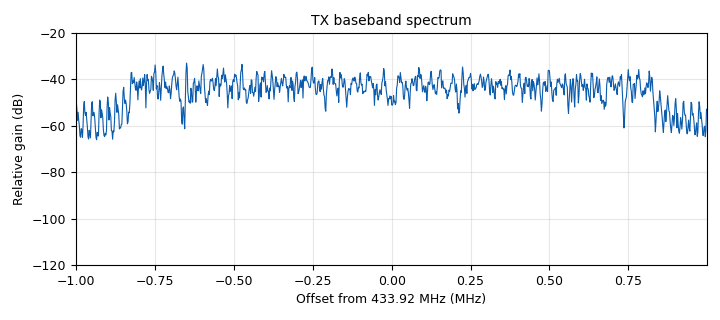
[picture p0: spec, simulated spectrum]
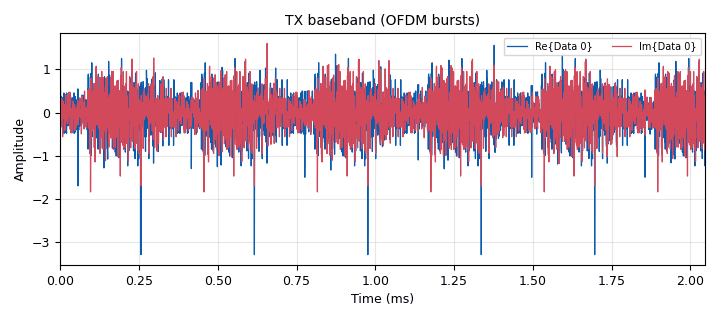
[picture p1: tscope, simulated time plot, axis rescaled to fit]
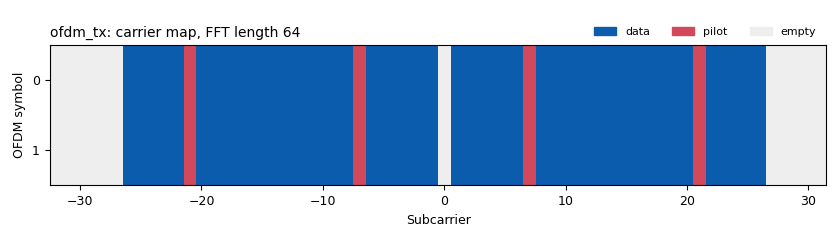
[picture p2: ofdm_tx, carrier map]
options:
  parameters:
    author: NUM Wireless Communication Lab
    description: Numbered text packets -> GNU Radio OFDM Transmitter -> HackRF Pro.
    generate_options: qt_gui
    id: lab4_hackrf_ofdm_tx
    output_language: python
    title: 'Lab 4b - OFDM packet transmitter (HackRF Pro #1)'
  states: {}

blocks:
- name: samp_rate
  id: variable
  parameters:
    value: 2e6
  states: {}
- name: center_freq
  id: variable
  parameters:
    value: 433.92e6
    comment: Use only a frequency allowed in your lab / country
  states: {}
- name: fft_len
  id: variable
  parameters:
    value: '64'
  states: {}
- name: cp_len
  id: variable
  parameters:
    value: '16'
  states: {}
- name: packet_len
  id: variable
  parameters:
    value: '64'
    comment: bytes per packet
  states: {}
- name: len_key
  id: variable
  parameters:
    value: '"packet_len"'
  states: {}
- name: occupied_carriers
  id: variable
  parameters:
    value: (list(range(-26, -21)) + list(range(-20, -7)) + list(range(-6, 0)) + list(range(1, 7)) + list(range(8, 21)) + list(range(22, 27)),)
    comment: 48 data subcarriers (DC = 0 is not used)
  states: {}
- name: pilot_carriers
  id: variable
  parameters:
    value: ((-21, -7, 7, 21),)
  states: {}
- name: pilot_symbols
  id: variable
  parameters:
    value: ((1, 1, 1, -1),)
  states: {}
- name: tx_vga
  id: variable_qtgui_range
  parameters:
    label: '"TX VGA gain [dB]"'
    rangeType: int
    value: '10'
    start: '0'
    stop: '47'
    step: '1'
    gui_hint: 0,0,1,1
  states: {}
- name: bb_amp
  id: variable_qtgui_range
  parameters:
    label: '"Baseband amplitude"'
    value: '0.05'
    start: '0.005'
    stop: '0.3'
    step: '0.005'
    gui_hint: 0,1,1,1
  states: {}
- name: payload_src
  id: blocks_vector_source_x
  parameters:
    type: byte
    vector: list(b"".join(((("NUM OFDM LAB seq=%04d | Hello from HackRF Pro TX" % i).ljust(packet_len - 1) + "\n").encode() for i in range(1000))))
    repeat: 'True'
    comment: 1000 numbered text packets, repeated forever
  states: {}
- name: to_packets
  id: blocks_stream_to_tagged_stream
  parameters:
    type: byte
    packet_len: packet_len
    len_tag_key: len_key
  states: {}
- name: ofdm_tx
  id: digital_ofdm_tx
  parameters:
    fft_len: fft_len
    cp_len: cp_len
    packet_len_key: len_key
    occupied_carriers: occupied_carriers
    pilot_carriers: pilot_carriers
    pilot_symbols: pilot_symbols
    sync_word1: None
    sync_word2: None
    header_mod: '"BPSK"'
    payload_mod: '"QPSK"'
    rolloff: '0'
    comment: |-
      Default 802.11a-like layout: 48 data + 4 pilot subcarriers
      Try payload_mod = BPSK / QPSK / 8-PSK
  states: {}
- name: tx_scale
  id: blocks_multiply_const_vxx
  parameters:
    type: complex
    const: bb_amp
  states: {}
- name: hackrf_tx
  id: soapy_hackrf_sink
  parameters:
    type: fc32
    dev_args: '""'
    samp_rate: samp_rate
    center_freq: center_freq
    vga: tx_vga
    comment: |-
      dev_args: leave empty for one HackRF; with two HackRFs on one PC use serial=<number from hackrf_info>
      amp=False: keep the +14 dB RF amplifier OFF in the lab
  states: {}
- name: spec
  id: qtgui_freq_sink_x
  parameters:
    type: complex
    name: '"TX baseband spectrum"'
    fftsize: '1024'
    fc: center_freq
    bw: samp_rate
    average: '0.2'
    ymin: '-120'
    ymax: '-20'
    grid: 'True'
    gui_hint: 1,0,1,1
  states: {}
- name: tscope
  id: qtgui_time_sink_x
  parameters:
    type: complex
    name: '"TX baseband (OFDM bursts)"'
    size: '4096'
    srate: samp_rate
    ymin: '-0.3'
    ymax: '0.3'
    grid: 'True'
    entags: 'False'
    gui_hint: 1,1,1,1
  states: {}

connections:
- [payload_src, '0', to_packets, '0']
- [to_packets, '0', ofdm_tx, '0']
- [ofdm_tx, '0', tx_scale, '0']
- [tx_scale, '0', hackrf_tx, '0']
- [tx_scale, '0', spec, '0']
- [tx_scale, '0', tscope, '0']

metadata:
  file_format: 1
  grc_version: 3.10.9.2
